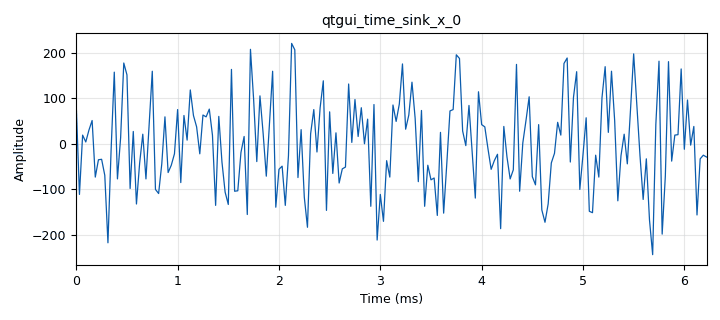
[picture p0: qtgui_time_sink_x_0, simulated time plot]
options:
  parameters:
    generate_options: qt_gui
    id: sa
    output_language: python
    title: Not titled yet
  states: {}

blocks:
- name: delay
  id: variable_qtgui_range
  parameters:
    start: '0'
    step: '1'
    stop: '10'
    value: '0'
  states: {}
- name: samp_rate
  id: variable
  parameters:
    value: '32000'
  states: {}
- name: analog_random_source_x_0
  id: analog_random_source_x
  parameters:
    max: '256'
    min: '0'
    num_samps: '1000'
    repeat: 'True'
    type: byte
  states: {}
- name: blocks_char_to_float_0
  id: blocks_char_to_float
  parameters:
    scale: '1'
  states: {}
- name: blocks_char_to_float_1
  id: blocks_char_to_float
  parameters:
    scale: '1'
  states: {}
- name: blocks_delay_0
  id: blocks_delay
  parameters:
    delay: '5'
    showports: 'True'
    type: byte
  states: {}
- name: blocks_delay_1
  id: blocks_delay
  parameters:
    delay: delay
    showports: 'True'
    type: byte
  states: {}
- name: blocks_sub_xx_0
  id: blocks_sub_xx
  parameters:
    type: float
  states: {}
- name: blocks_throttle2_0
  id: blocks_throttle2
  parameters:
    samples_per_second: samp_rate
    type: float
  states: {}
- name: qtgui_time_sink_x_0
  id: qtgui_time_sink_x
  parameters:
    autoscale: 'True'
    color1: red
    size: '200'
    srate: samp_rate
    type: float
  states: {}

connections:
- [analog_random_source_x_0, '0', blocks_delay_0, '0']
- [analog_random_source_x_0, '0', blocks_delay_1, '0']
- [blocks_char_to_float_0, '0', blocks_sub_xx_0, '0']
- [blocks_char_to_float_1, '0', blocks_sub_xx_0, '1']
- [blocks_delay_0, '0', blocks_char_to_float_0, '0']
- [blocks_delay_1, '0', blocks_char_to_float_1, '0']
- [blocks_sub_xx_0, '0', blocks_throttle2_0, '0']
- [blocks_throttle2_0, '0', qtgui_time_sink_x_0, '0']

metadata:
  file_format: 1
  grc_version: 3.10.9.2
